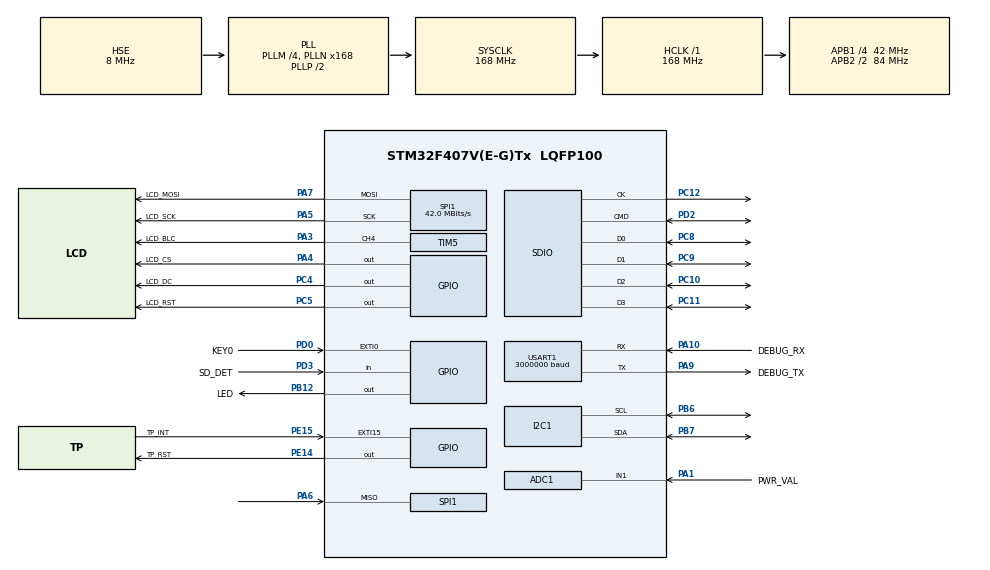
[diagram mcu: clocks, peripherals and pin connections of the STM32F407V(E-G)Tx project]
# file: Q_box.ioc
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ADC1.Channel-3\#ChannelRegularConversion=ADC_CHANNEL_1
ADC1.NbrOfConversionFlag=1
ADC1.Rank-3\#ChannelRegularConversion=1
ADC1.SamplingTime-3\#ChannelRegularConversion=ADC_SAMPLETIME_3CYCLES
ADC1.master=1
Dma.Request0=SDIO_TX
Dma.Request1=SDIO_RX
Dma.Request2=USART1_TX
Dma.SDIO_RX.1.Direction=DMA_PERIPH_TO_MEMORY
Dma.SDIO_RX.1.FIFOMode=DMA_FIFOMODE_ENABLE
Dma.SDIO_RX.1.FIFOThreshold=DMA_FIFO_THRESHOLD_FULL
Dma.SDIO_RX.1.Instance=DMA2_Stream6
Dma.SDIO_RX.1.MemBurst=DMA_MBURST_INC4
Dma.SDIO_RX.1.MemDataAlignment=DMA_MDATAALIGN_WORD
Dma.SDIO_RX.1.MemInc=DMA_MINC_ENABLE
Dma.SDIO_RX.1.Mode=DMA_PFCTRL
Dma.SDIO_RX.1.PeriphBurst=DMA_PBURST_INC4
Dma.SDIO_RX.1.PeriphDataAlignment=DMA_PDATAALIGN_WORD
Dma.SDIO_RX.1.PeriphInc=DMA_PINC_DISABLE
Dma.SDIO_RX.1.Priority=DMA_PRIORITY_HIGH
Dma.SDIO_TX.0.Direction=DMA_MEMORY_TO_PERIPH
Dma.SDIO_TX.0.FIFOMode=DMA_FIFOMODE_ENABLE
Dma.SDIO_TX.0.FIFOThreshold=DMA_FIFO_THRESHOLD_FULL
Dma.SDIO_TX.0.Instance=DMA2_Stream3
Dma.SDIO_TX.0.MemBurst=DMA_MBURST_INC4
Dma.SDIO_TX.0.MemDataAlignment=DMA_MDATAALIGN_WORD
Dma.SDIO_TX.0.MemInc=DMA_MINC_ENABLE
Dma.SDIO_TX.0.Mode=DMA_PFCTRL
Dma.SDIO_TX.0.PeriphBurst=DMA_PBURST_INC4
Dma.SDIO_TX.0.PeriphDataAlignment=DMA_PDATAALIGN_WORD
Dma.SDIO_TX.0.PeriphInc=DMA_PINC_DISABLE
Dma.SDIO_TX.0.Priority=DMA_PRIORITY_HIGH
Dma.USART1_TX.2.Direction=DMA_MEMORY_TO_PERIPH
Dma.USART1_TX.2.FIFOMode=DMA_FIFOMODE_ENABLE
Dma.USART1_TX.2.FIFOThreshold=DMA_FIFO_THRESHOLD_1QUARTERFULL
Dma.USART1_TX.2.Instance=DMA2_Stream7
Dma.USART1_TX.2.MemBurst=DMA_MBURST_SINGLE
Dma.USART1_TX.2.MemDataAlignment=DMA_MDATAALIGN_BYTE
Dma.USART1_TX.2.MemInc=DMA_MINC_ENABLE
Dma.USART1_TX.2.Mode=DMA_NORMAL
Dma.USART1_TX.2.PeriphBurst=DMA_PBURST_SINGLE
Dma.USART1_TX.2.PeriphDataAlignment=DMA_PDATAALIGN_BYTE
Dma.USART1_TX.2.PeriphInc=DMA_PINC_DISABLE
Dma.USART1_TX.2.Priority=DMA_PRIORITY_MEDIUM
FATFS.BSP.number=1
FATFS._CODE_PAGE=936
FATFS._FS_REENTRANT=0
FATFS._MAX_SS=4096
FATFS._USE_LABEL=1
FATFS._USE_LFN=2
FATFS0.BSP.STBoard=false
FATFS0.BSP.api=Unknown
FATFS0.BSP.instance=PD3
FATFS0.BSP.ip=GPIO
FATFS0.BSP.mode=Input
FATFS0.BSP.name=Detect_SDIO
FATFS0.BSP.solution=PD3
FREERTOS.Mutexes01=lvgl_Mutex,Dynamic,NULL,Depleted
FREERTOS.Tasks01=defaultTask,0,128,StartDefaultTask,Default,NULL,Dynamic,NULL,NULL;lvgl_task,0,1024,lvgl_app,Default,NULL,Dynamic,NULL,NULL
FREERTOS.configUSE_TICK_HOOK=1
I2C1.I2C_Mode=I2C_Fast
Mcu.Family=STM32F4
Mcu.Name=STM32F407V(E-G)Tx
Mcu.Package=LQFP100
Mcu.UserConstants=lcd_pwm,$$_TIM5_IP_HANDLE_$$;lcd_spi,$$_SPI1_IP_HANDLE_$$;debug_uart,$$_USART1_IP_HANDLE_$$;tp_i2c,$$_I2C1_IP_HANDLE_$$
NVIC.DMA2_Stream3_IRQn=true\:5\:0\:false\:false\:true\:true\:false\:true\:true
NVIC.DMA2_Stream6_IRQn=true\:5\:0\:false\:false\:true\:true\:false\:true\:true
NVIC.DMA2_Stream7_IRQn=true\:5\:0\:false\:false\:true\:true\:false\:true\:true
NVIC.PriorityGroup=NVIC_PRIORITYGROUP_4
NVIC.SDIO_IRQn=true\:5\:0\:false\:false\:true\:true\:true\:true\:true
NVIC.TIM1_UP_TIM10_IRQn=true\:15\:0\:false\:false\:true\:false\:false\:true\:true
NVIC.TimeBase=TIM1_UP_TIM10_IRQn
NVIC.TimeBaseIP=TIM1
NVIC.USART1_IRQn=true\:5\:0\:false\:false\:true\:true\:true\:true\:true
PA0-WKUP.GPIO_Label=KEY_WAKEUP
PA0-WKUP.Mode=SYS_WakeUp0
PA0-WKUP.Signal=SYS_WKUP
PA1.GPIO_Label=PWR_VAL
PA1.Signal=ADCx_IN1
PA10.GPIO_Label=DEBUG_RX
PA10.GPIO_PuPd=GPIO_PULLUP
PA10.Mode=Asynchronous
PA10.Signal=USART1_RX
PA13.GPIO_Label=SWDIO
PA13.Mode=Serial_Wire
PA13.Signal=SYS_JTMS-SWDIO
PA14.GPIO_Label=SWCLK
PA14.Mode=Serial_Wire
PA14.Signal=SYS_JTCK-SWCLK
PA3.GPIO_Label=LCD_BLC
PA3.GPIO_ModeDefaultPP=GPIO_MODE_AF_PP
PA3.GPIO_PuPd=GPIO_PULLUP
PA3.GPIO_Speed=GPIO_SPEED_FREQ_HIGH
PA3.Signal=S_TIM5_CH4
PA4.GPIO_Label=LCD_CS
PA4.GPIO_ModeDefaultOutputPP=GPIO_MODE_OUTPUT_PP
PA4.GPIO_PuPd=GPIO_PULLUP
PA4.GPIO_Speed=GPIO_SPEED_FREQ_HIGH
PA4.PinState=GPIO_PIN_SET
PA4.Signal=GPIO_Output
PA5.GPIO_Label=LCD_SCK
PA5.GPIO_PuPd=GPIO_PULLUP
PA5.Mode=Full_Duplex_Master
PA5.Signal=SPI1_SCK
PA6.GPIO_Mode=GPIO_MODE_AF_PP
PA6.GPIO_PuPd=GPIO_PULLUP
PA6.Mode=Full_Duplex_Master
PA6.Signal=SPI1_MISO
PA7.GPIO_Label=LCD_MOSI
PA7.GPIO_Mode=GPIO_MODE_AF_PP
PA7.GPIO_PuPd=GPIO_PULLUP
PA7.Mode=Full_Duplex_Master
PA7.Signal=SPI1_MOSI
PA9.GPIO_Label=DEBUG_TX
PA9.GPIO_PuPd=GPIO_PULLUP
PA9.Mode=Asynchronous
PA9.Signal=USART1_TX
PB12.GPIO_Label=LED
PB12.GPIO_ModeDefaultOutputPP=GPIO_MODE_OUTPUT_PP
PB12.GPIO_PuPd=GPIO_PULLDOWN
PB12.PinState=GPIO_PIN_RESET
PB12.Signal=GPIO_Output
PB6.GPIO_Pu=GPIO_PULLUP
PB6.Mode=I2C
PB6.Signal=I2C1_SCL
PB7.GPIO_Pu=GPIO_PULLUP
PB7.Mode=I2C
PB7.Signal=I2C1_SDA
PC10.GPIO_PuPd=GPIO_PULLUP
PC10.Mode=SD_4_bits_Wide_bus
PC10.Signal=SDIO_D2
PC11.GPIO_PuPd=GPIO_PULLUP
PC11.Mode=SD_4_bits_Wide_bus
PC11.Signal=SDIO_D3
PC12.GPIO_PuPd=GPIO_PULLUP
PC12.Mode=SD_4_bits_Wide_bus
PC12.Signal=SDIO_CK
PC14-OSC32_IN.Mode=LSE-External-Oscillator
PC14-OSC32_IN.Signal=RCC_OSC32_IN
PC15-OSC32_OUT.Mode=LSE-External-Oscillator
PC15-OSC32_OUT.Signal=RCC_OSC32_OUT
PC4.GPIO_Label=LCD_DC
PC4.Signal=GPIO_Output
PC5.GPIO_Label=LCD_RST
PC5.Signal=GPIO_Output
PC8.GPIO_PuPd=GPIO_PULLUP
PC8.Mode=SD_4_bits_Wide_bus
PC8.Signal=SDIO_D0
PC9.GPIO_PuPd=GPIO_PULLUP
PC9.Mode=SD_4_bits_Wide_bus
PC9.Signal=SDIO_D1
PD0.GPIO_Label=KEY0
PD0.Signal=GPXTI0
PD2.GPIO_PuPd=GPIO_PULLUP
PD2.Mode=SD_4_bits_Wide_bus
PD2.Signal=SDIO_CMD
PD3.GPIO_Label=SD_DET
PD3.GPIO_PuPd=GPIO_PULLUP
PD3.Signal=GPIO_Input
PE14.GPIO_Label=TP_RST
PE14.GPIO_ModeDefaultOutputPP=GPIO_MODE_OUTPUT_PP
PE14.GPIO_PuPd=GPIO_PULLUP
PE14.PinState=GPIO_PIN_SET
PE14.Signal=GPIO_Output
PE15.GPIO_Label=TP_INT
PE15.Signal=GPXTI15
PH0-OSC_IN.Mode=HSE-External-Oscillator
PH0-OSC_IN.Signal=RCC_OSC_IN
PH1-OSC_OUT.Mode=HSE-External-Oscillator
PH1-OSC_OUT.Signal=RCC_OSC_OUT
ProjectManager.HeapSize=0x4000
ProjectManager.StackSize=0x4000
ProjectManager.TargetToolchain=MDK-ARM V5.32
RCC.48MHZClocksFreq_Value=48000000
RCC.AHBFreq_Value=168000000
RCC.APB1CLKDivider=RCC_HCLK_DIV4
RCC.APB1Freq_Value=42000000
RCC.APB1TimFreq_Value=84000000
RCC.APB2CLKDivider=RCC_HCLK_DIV2
RCC.APB2Freq_Value=84000000
RCC.APB2TimFreq_Value=168000000
RCC.CortexFreq_Value=168000000
RCC.HCLKFreq_Value=168000000
RCC.HSE_VALUE=8000000
RCC.HSI_VALUE=16000000
RCC.PLLM=4
RCC.PLLN=168
RCC.PLLQ=7
RCC.PLLSourceVirtual=RCC_PLLSOURCE_HSE
RCC.SYSCLKFreq_VALUE=168000000
RCC.SYSCLKSource=RCC_SYSCLKSOURCE_PLLCLK
RCC.VCOOutputFreq_Value=336000000
SDIO.ClockDiv=84
SH.ADCx_IN1.0=ADC1_IN1,IN1
SH.S_TIM5_CH4.0=TIM5_CH4,Output Compare4 CH4
SPI1.BaudRatePrescaler=SPI_BAUDRATEPRESCALER_2
SPI1.CalculateBaudRate=42.0 MBits/s
SPI1.Direction=SPI_DIRECTION_2LINES
SPI1.Mode=SPI_MODE_MASTER
SPI1.VirtualType=VM_MASTER
TIM5.Channel-Output\ Compare4\ CH4=TIM_CHANNEL_4
TIM5.Period=10000
TIM5.Prescaler=84
TIM5.Pulse-Output\ Compare4\ CH4=50
USART1.BaudRate=3000000
USART1.Mode=MODE_TX_RX
USART1.VirtualMode=VM_ASYNC
VP_FATFS_VS_SDIO.Mode=SDIO
VP_FREERTOS_VS_CMSIS_V1.Mode=CMSIS_V1
VP_SYS_VS_tim1.Mode=TIM1
board=custom

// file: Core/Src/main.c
/* USER CODE BEGIN Header */
/**
  ******************************************************************************
  * @file           : main.c
  * @brief          : Main program body
  ******************************************************************************
  * @attention
  *
  * Copyright (c) 2024 STMicroelectronics.
  * All rights reserved.
  *
  * This software is licensed under terms that can be found in the LICENSE file
  * in the root directory of this software component.
  * If no LICENSE file comes with this software, it is provided AS-IS.
  *
  ******************************************************************************
  */
/* USER CODE END Header */
#include "main.h"
#include "cmsis_os.h"
#include "adc.h"
#include "dma.h"
#include "fatfs.h"
#include "i2c.h"
#include "sdio.h"
#include "spi.h"
#include "tim.h"
#include "usart.h"
#include "gpio.h"

/* USER CODE BEGIN Includes */
#include "lcd.h"
#include "debug.h"
#include "cst816.h"
/* USER CODE END Includes */

void SystemClock_Config(void);
void MX_FREERTOS_Init(void);

int main(void)
{

  /* MCU Configuration--------------------------------------------------------*/

  /* Reset of all peripherals, Initializes the Flash interface and the Systick. */
  HAL_Init();

  /* Configure the system clock */
  SystemClock_Config();

  /* Initialize all configured peripherals */
  MX_GPIO_Init();
  MX_DMA_Init();
  MX_ADC1_Init();
  MX_SDIO_SD_Init();
  MX_SPI1_Init();
  MX_TIM5_Init();
  MX_USART1_UART_Init();
  MX_FATFS_Init();
  MX_I2C1_Init();
  /* USER CODE BEGIN 2 */
  Lcd_Init();
  CST816_Init();
  Check_SD_Info();
  FS_Ready();
  lv_log_binding_uart();
  /* USER CODE END 2 */

  /* Call init function for freertos objects (in cmsis_os2.c) */
  MX_FREERTOS_Init();

  /* Start scheduler */
  osKernelStart();

  /* We should never get here as control is now taken by the scheduler */

  /* Infinite loop */
  while (1)
  {

  }
}

void SystemClock_Config(void)
{
  RCC_OscInitTypeDef RCC_OscInitStruct = {0};
  RCC_ClkInitTypeDef RCC_ClkInitStruct = {0};

  /** Configure the main internal regulator output voltage
  */
  __HAL_RCC_PWR_CLK_ENABLE();
  __HAL_PWR_VOLTAGESCALING_CONFIG(PWR_REGULATOR_VOLTAGE_SCALE1);

  /** Initializes the RCC Oscillators according to the specified parameters
  * in the RCC_OscInitTypeDef structure.
  */
  RCC_OscInitStruct.OscillatorType = RCC_OSCILLATORTYPE_HSE;
  RCC_OscInitStruct.HSEState = RCC_HSE_ON;
  RCC_OscInitStruct.PLL.PLLState = RCC_PLL_ON;
  RCC_OscInitStruct.PLL.PLLSource = RCC_PLLSOURCE_HSE;
  RCC_OscInitStruct.PLL.PLLM = 4;
  RCC_OscInitStruct.PLL.PLLN = 168;
  RCC_OscInitStruct.PLL.PLLP = RCC_PLLP_DIV2;
  RCC_OscInitStruct.PLL.PLLQ = 7;
  if (HAL_RCC_OscConfig(&RCC_OscInitStruct) != HAL_OK)
  {
    Error_Handler();
  }

  /** Initializes the CPU, AHB and APB buses clocks
  */
  RCC_ClkInitStruct.ClockType = RCC_CLOCKTYPE_HCLK|RCC_CLOCKTYPE_SYSCLK
                              |RCC_CLOCKTYPE_PCLK1|RCC_CLOCKTYPE_PCLK2;
  RCC_ClkInitStruct.SYSCLKSource = RCC_SYSCLKSOURCE_PLLCLK;
  RCC_ClkInitStruct.AHBCLKDivider = RCC_SYSCLK_DIV1;
  RCC_ClkInitStruct.APB1CLKDivider = RCC_HCLK_DIV4;
  RCC_ClkInitStruct.APB2CLKDivider = RCC_HCLK_DIV2;

  if (HAL_RCC_ClockConfig(&RCC_ClkInitStruct, FLASH_LATENCY_5) != HAL_OK)
  {
    Error_Handler();
  }
}

void HAL_TIM_PeriodElapsedCallback(TIM_HandleTypeDef *htim)
{
  if (htim->Instance == TIM1) {
    HAL_IncTick();
  }
}

void Error_Handler(void)
{
  __disable_irq();
  while (1)
  {
  }
}

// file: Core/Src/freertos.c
/* USER CODE BEGIN Header */
/**
  ******************************************************************************
  * File Name          : freertos.c
  * Description        : Code for freertos applications
  ******************************************************************************
  * @attention
  *
  * Copyright (c) 2024 STMicroelectronics.
  * All rights reserved.
  *
  * This software is licensed under terms that can be found in the LICENSE file
  * in the root directory of this software component.
  * If no LICENSE file comes with this software, it is provided AS-IS.
  *
  ******************************************************************************
  */
/* USER CODE END Header */

#include "FreeRTOS.h"
#include "task.h"
#include "main.h"
#include "cmsis_os.h"

/* USER CODE BEGIN Includes */
#include "lvgl.h"
#include "fatfs.h"
#include "gpio.h"
#include "ui.h"

/* USER CODE END Includes */

osThreadId defaultTaskHandle;
osThreadId lvgl_taskHandle;
osMutexId lvgl_MutexHandle;

/* USER CODE BEGIN FunctionPrototypes */
extern void lv_demo_benchmark(void);
/* USER CODE END FunctionPrototypes */

void StartDefaultTask(void const * argument);
void lvgl_app(void const * argument);

void MX_FREERTOS_Init(void); /* (MISRA C 2004 rule 8.1) */

/* GetIdleTaskMemory prototype (linked to static allocation support) */
void vApplicationGetIdleTaskMemory( StaticTask_t **ppxIdleTaskTCBBuffer, StackType_t **ppxIdleTaskStackBuffer, uint32_t *pulIdleTaskStackSize );

/* Hook prototypes */
void vApplicationTickHook(void);

/* USER CODE BEGIN 3 */
__weak void vApplicationTickHook( void )
{
   /* This function will be called by each tick interrupt if
   configUSE_TICK_HOOK is set to 1 in FreeRTOSConfig.h. User code can be
   added here, but the tick hook is called from an interrupt context, so
   code must not attempt to block, and only the interrupt safe FreeRTOS API
   functions can be used (those that end in FromISR()). */
   lv_tick_inc(1);
}
/* USER CODE END 3 */

/* USER CODE BEGIN GET_IDLE_TASK_MEMORY */
static StaticTask_t xIdleTaskTCBBuffer;
static StackType_t xIdleStack[configMINIMAL_STACK_SIZE];

void vApplicationGetIdleTaskMemory( StaticTask_t **ppxIdleTaskTCBBuffer, StackType_t **ppxIdleTaskStackBuffer, uint32_t *pulIdleTaskStackSize )
{
  *ppxIdleTaskTCBBuffer = &xIdleTaskTCBBuffer;
  *ppxIdleTaskStackBuffer = &xIdleStack[0];
  *pulIdleTaskStackSize = configMINIMAL_STACK_SIZE;
  /* place for user code */
}
/* USER CODE END GET_IDLE_TASK_MEMORY */

void MX_FREERTOS_Init(void) {
  /* Create the mutex(es) */
  /* definition and creation of lvgl_Mutex */
  osMutexDef(lvgl_Mutex);
  lvgl_MutexHandle = osMutexCreate(osMutex(lvgl_Mutex));

  /* Create the thread(s) */
  /* definition and creation of defaultTask */
  osThreadDef(defaultTask, StartDefaultTask, osPriorityNormal, 0, 128);
  defaultTaskHandle = osThreadCreate(osThread(defaultTask), NULL);

  /* definition and creation of lvgl_task */
  osThreadDef(lvgl_task, lvgl_app, osPriorityNormal, 0, 1024);
  lvgl_taskHandle = osThreadCreate(osThread(lvgl_task), NULL);

}

void StartDefaultTask(void const * argument)
{
  /* USER CODE BEGIN StartDefaultTask */
  /* Infinite loop */
  for(;;)
  {
    LED_OFF;
    osDelay(500);
    LED_ON;
    osDelay(500);
  }
  /* USER CODE END StartDefaultTask */
}

void lvgl_app(void const * argument)
{
  /* USER CODE BEGIN lvgl_app */
  /* Infinite loop */
    FS_ListPath("/");
	lv_init();
	lv_port_disp_init();
	lv_port_indev_init();

	ui_init();

	for(;;)
	{
		osMutexWait(lvgl_MutexHandle, portMAX_DELAY);
		lv_task_handler();
		osMutexRelease(lvgl_MutexHandle);
		osDelay(3);
	}

  /* USER CODE END lvgl_app */
}
